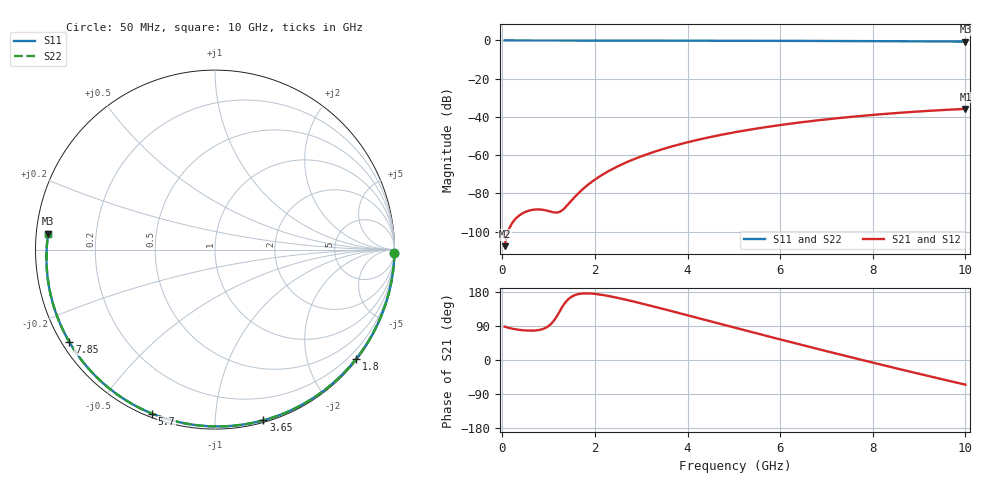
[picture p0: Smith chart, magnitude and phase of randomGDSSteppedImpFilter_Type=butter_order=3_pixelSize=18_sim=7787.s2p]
! freq	dB(S11)	phase(S11)	dB(S12)	phase(S12)
!  dB(S21)	phase(S21)	dB(S22)	phase(S22)
!S-par simulation data
#  GHz  S  DB  R 50
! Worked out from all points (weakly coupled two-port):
!   200 points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, 50 MHz to 10 GHz, reference 50 ohm
!   highest |S21| = -35.79 dB at 10 GHz (marker M1); lowest = -107.6 dB at 50 MHz (marker M2)
!   lowest |S11| = -0.6 dB at 10 GHz (marker M3), VSWR 29.21, Z = 1.72 + j2.37 ohm
!   |S11| at or under -10 dB: nowhere
!   |S22| runs from -0.6 to 0.0 dB; largest |S21 - S12| = 0
!   S11 on the Smith chart (normalised r, x): 50 MHz: open; 1.8 GHz: 0.03, -2.92; 3.65 GHz: 0.02, -1.32; 5.7 GHz: 0.02, -0.69; 7.85 GHz: 0.02, -0.29; 10 GHz: 0.03, +0.05
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0.05  -0.00 -1.1  -107.58 88.0  -107.58 88.0  -0.00 -1.1
0.4  -0.01 -8.6  -90.97 79.1  -90.97 79.1  -0.01 -8.6
0.8  -0.02 -17.0  -88.37 79.3  -88.37 79.3  -0.02 -17.0
1.2  -0.03 -25.4  -89.95 120.1  -89.95 120.1  -0.03 -25.4
1.6  -0.04 -33.7  -80.96 172.6  -80.96 172.6  -0.04 -33.7
1.65  -0.04 -34.7  -79.74 174.1  -79.74 174.1  -0.04 -34.7
1.75  -0.05 -36.8  -77.49 175.7  -77.49 175.7  -0.05 -36.8
1.8  -0.05 -37.8  -76.45 175.9  -76.45 175.9  -0.05 -37.8
2.1  -0.06 -43.9  -71.15 172.9  -71.15 172.9  -0.06 -43.9
2.45  -0.06 -50.9  -66.36 165.0  -66.36 165.0  -0.06 -50.9
2.9  -0.08 -59.8  -61.54 152.4  -61.54 152.4  -0.08 -59.8
3.4  -0.09 -69.4  -57.31 137.1  -57.31 137.1  -0.09 -69.4
3.65  -0.10 -74.2  -55.51 129.2  -55.51 129.2  -0.10 -74.2
4.35  -0.12 -87.1  -51.26 106.8  -51.26 106.8  -0.12 -87.1
5.05  -0.15 -99.7  -47.87 84.4  -47.87 84.4  -0.15 -99.7
5.7  -0.19 -111.0  -45.29 63.8  -45.29 63.8  -0.19 -111.0
6.7  -0.25 -128.1  -42.08 32.6  -42.08 32.6  -0.25 -128.1
7.3  -0.30 -138.2  -40.51 14.2  -40.51 14.2  -0.30 -138.2
7.85  -0.34 -147.5  -39.25 -2.4  -39.25 -2.4  -0.34 -147.5
8.35  -0.39 -156.0  -38.24 -17.3  -38.24 -17.3  -0.39 -156.0
9.2  -0.49 -170.8  -36.82 -42.2  -36.82 -42.2  -0.49 -170.8
10  -0.59 174.6  -35.79 -65.0  -35.79 -65.0  -0.59 174.6
